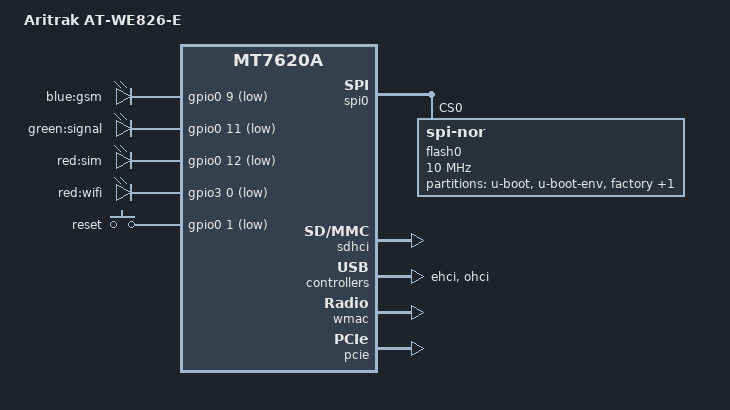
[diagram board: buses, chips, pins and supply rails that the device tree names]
// SPDX-License-Identifier: GPL-2.0-or-later OR MIT

#include "mt7620a.dtsi"

#include <dt-bindings/gpio/gpio.h>
#include <dt-bindings/input/input.h>
#include <dt-bindings/leds/common.h>

/ {
	compatible = "aritrak,at-we826-e", "zbtlink,zbt-we826-e", "zbtlink,zbt-we826", "ralink,mt7620a-soc";
	model = "Aritrak AT-WE826-E";

	aliases {
		led-boot = &led_power;
		led-failsafe = &led_power;
		led-running = &led_power;
		led-upgrade = &led_power;
	};

	chosen {
		bootargs = "console=ttyS0,115200";
	};

	leds {
		compatible = "gpio-leds";

		led_power: gsm {
			label = "blue:gsm";
			gpios = <&gpio0 9 GPIO_ACTIVE_LOW>;
		};

		signal {
			label = "green:signal";
			gpios = <&gpio0 11 GPIO_ACTIVE_LOW>;
		};

		sim {
			label = "red:sim";
			gpios = <&gpio0 12 GPIO_ACTIVE_LOW>;
		};

		air {
			label = "red:wifi";
			gpios = <&gpio3 0 GPIO_ACTIVE_LOW>;
		};
	};

	keys {
		compatible = "gpio-keys";

		reset {
			label = "reset";
			gpios = <&gpio0 1 GPIO_ACTIVE_LOW>;
			linux,code = <KEY_RESTART>;
		};
	};
};

&spi0 {
	status = "okay";

	flash0: flash@0 {
		compatible = "jedec,spi-nor";
		reg = <0>;
		spi-max-frequency = <10000000>;
		broken-flash-reset;

		partitions {
			compatible = "fixed-partitions";
			#address-cells = <1>;
			#size-cells = <1>;

			partition@0 {
				label = "u-boot";
				reg = <0x0 0x30000>;
				read-only;
			};

			partition@30000 {
				label = "u-boot-env";
				reg = <0x30000 0x10000>;
				read-only;
			};

			partition@40000 {
				label = "factory";
				reg = <0x40000 0x10000>;
				read-only;

				nvmem-layout {
					compatible = "fixed-layout";
					#address-cells = <1>;
					#size-cells = <1>;

					eeprom_factory_0: eeprom@0 {
						reg = <0x0 0x200>;
					};

					macaddr_factory_4: macaddr@4 {
						reg = <0x4 0x6>;
					};
				};
			};

			firmware: partition@50000 {
				compatible = "denx,uimage";
				label = "firmware";
				reg = <0x50000 0x1fb0000>;
			};
		};
	};
};

&gpio1 {
	status = "okay";
};

&gpio3 {
	status = "okay";
};

&sdhci {
	status = "okay";
};

&ehci {
	status = "okay";
};

&ohci {
	status = "okay";
};

&ethernet {
	nvmem-cells = <&macaddr_factory_4>;
	nvmem-cell-names = "mac-address";

	mediatek,portmap = "llllw";
};

&wmac {
	nvmem-cells = <&eeprom_factory_0>;
	nvmem-cell-names = "eeprom";
};

&state_default {
	default {
		groups = "i2c", "uartf", "wled";
		function = "gpio";
	};
};

&pcie {
	status = "okay";
};
